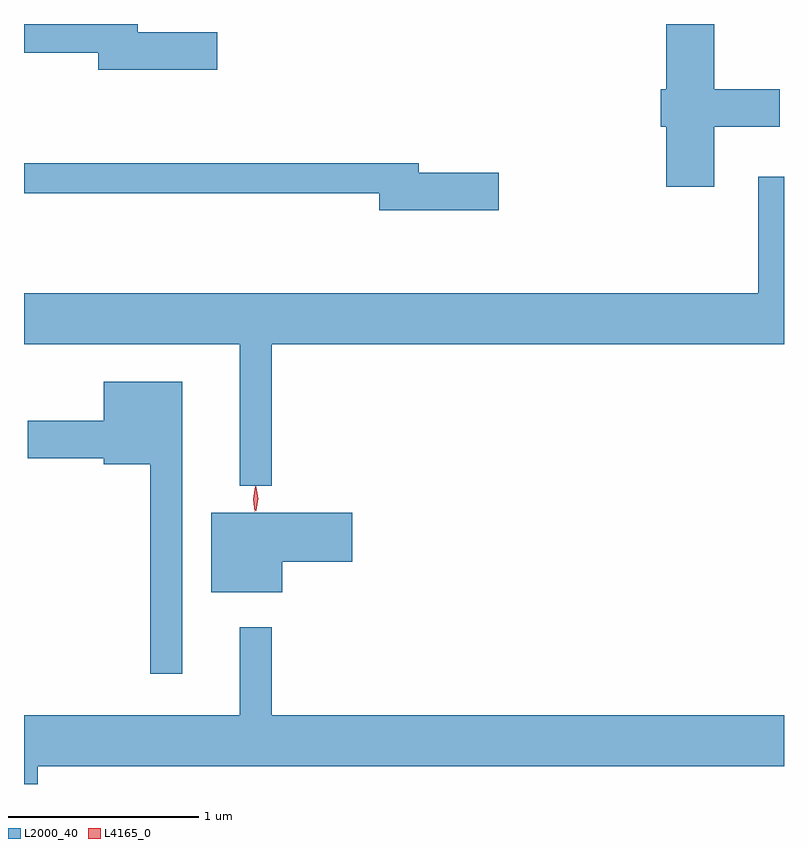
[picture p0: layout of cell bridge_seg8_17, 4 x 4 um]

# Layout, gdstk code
import gdstk
lib = gdstk.Library(unit=1e-6, precision=1e-09)
def P(c, l, *ps):  # polygons
    for p in ps: c.add(gdstk.Polygon(p, *l))
L2000_40 = (2000, 40)
L4165_0 = (4165, 0)

bridge_seg8_17 = lib.new_cell('bridge_seg8_17')
P(bridge_seg8_17, L2000_40, [(1846.509,1906.381),(1846.854,1906.381),(1846.854,1906.579),(1846.509,1906.579),(1846.509,1906.922),(1846.256,1906.922),(1846.256,1906.579),(1846.226,1906.579),(1846.226,1906.381),(1846.256,1906.381),(1846.256,1906.066),(1846.509,1906.066)],
  [(1843.894,1906.879),(1843.474,1906.879),(1843.474,1906.922),(1842.876,1906.922),(1842.876,1906.771),(1843.266,1906.771),(1843.266,1906.681),(1843.894,1906.681)],
  [(1845.374,1906.139),(1844.954,1906.139),(1844.954,1906.189),(1842.876,1906.189),(1842.876,1906.031),(1844.746,1906.031),(1844.746,1905.941),(1845.374,1905.941)],
  [(1844.179,1905.236),(1846.876,1905.236),(1846.876,1906.119),(1846.741,1906.119),(1846.741,1905.504),(1842.876,1905.504),(1842.876,1905.236),(1844.011,1905.236),(1844.011,1904.493),(1844.179,1904.493)],
  [(1843.709,1905.039),(1843.296,1905.039),(1843.296,1904.834),(1842.896,1904.834),(1842.896,1904.636),(1843.296,1904.636),(1843.296,1904.606),(1843.541,1904.606),(1843.541,1903.503),(1843.709,1903.503)],
  [(1844.234,1904.091),(1844.604,1904.091),(1844.604,1904.349),(1843.861,1904.349),(1843.861,1903.931),(1844.234,1903.931)],
  [(1842.949,1903.016),(1846.876,1903.016),(1846.876,1903.284),(1844.179,1903.284),(1844.179,1903.748),(1844.011,1903.748),(1844.011,1903.284),(1842.876,1903.284),(1842.876,1902.922),(1842.949,1902.922)])
P(bridge_seg8_17, L4165_0, [(1844.09,1904.354),(1844.082,1904.422),(1844.092,1904.49),(1844.092,1904.49),(1844.093,1904.49),(1844.102,1904.422),(1844.091,1904.354),(1844.091,1904.354)],
  [(1844.097,1904.36),(1844.088,1904.424),(1844.097,1904.486),(1844.098,1904.487),(1844.098,1904.486),(1844.108,1904.424),(1844.098,1904.36),(1844.098,1904.36)])

lib.write_gds('bridge_seg8_17.gds')
